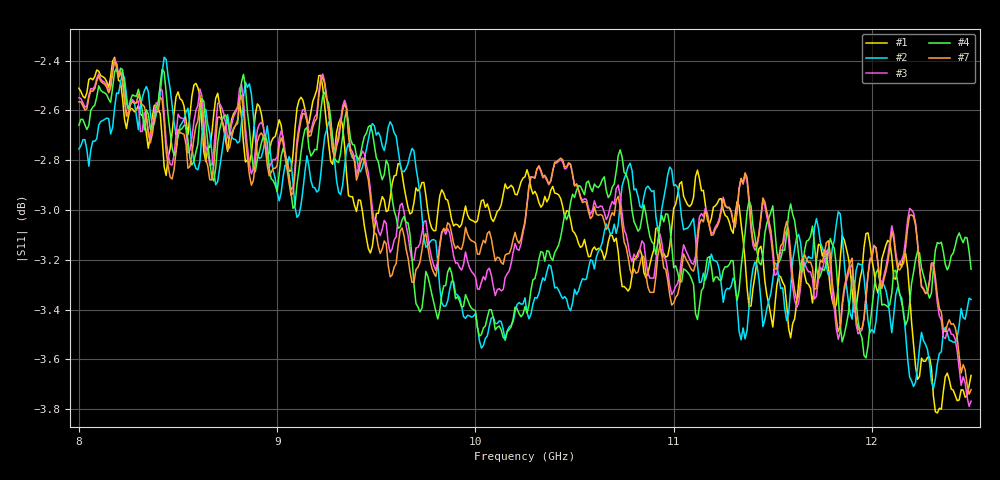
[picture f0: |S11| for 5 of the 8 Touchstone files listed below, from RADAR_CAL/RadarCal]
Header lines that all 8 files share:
#  HZ  S  RI  R  50.00
! Rohde & Schwarz Vector Network Analyzer
! Rohde-Schwarz,ZNA43-4Port,1332450044101932,2.92
! freq[Hz]  re:S11  im:S11
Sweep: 8 GHz to 12.5 GHz
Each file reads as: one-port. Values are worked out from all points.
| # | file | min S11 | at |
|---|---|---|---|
| 1 | calkit_3l8.s1p | -3.8 dB | 12.33 GHz |
| 2 | calkit_l0.s1p | -3.7 dB | 12.31 GHz |
| 3 | calkit_l4.s1p | -3.8 dB | 12.49 GHz |
| 4 | calkit_l8.s1p | -3.6 dB | 11.97 GHz |
| 5 | Ver_0.s1p | -3.7 dB | 12.31 GHz |
| 6 | Ver_375.s1p | -3.6 dB | 11.97 GHz |
| 7 | Ver_750.s1p | -3.7 dB | 12.49 GHz |
| 8 | Ver_1125.s1p | -3.8 dB | 12.33 GHz |
